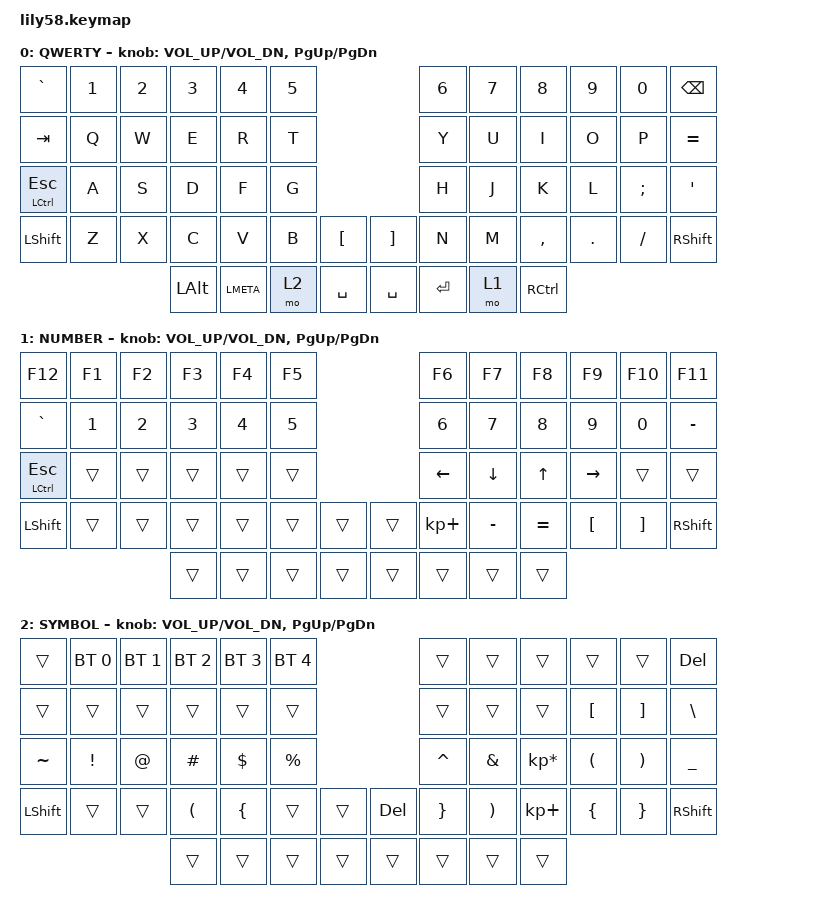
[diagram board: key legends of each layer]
/*
 * Copyright (c) 2020 The ZMK Contributors
 *
 * SPDX-License-Identifier: MIT
 */

#include <behaviors.dtsi>
#include <dt-bindings/zmk/keys.h>
#include <dt-bindings/zmk/bt.h>
#include <dt-bindings/zmk/ext_power.h>

/ {
    // Combo keys are a way to combine multiple keypresses to output a different key.
    combos {
        compatible = "zmk,combos";

        combo_clear_bluetooth {
            timeout-ms = <50>; // Press all the below keys within 50ms to activate mapping
            key-positions = <52 42 0>; // Press 52=LOWER, 42=[, 0=tilde
            bindings = <&bt BT_CLR>; // activate clear bluetooth bindings for current channel
        };
    };

    keymap {
        compatible = "zmk,keymap";

        default_layer {
            display-name = "QWERTY";
            // ------------------------------------------------------------------------------------------------------------
            // |   `      |  1  |  2  |  3   |  4   |  5   |                   |  6   |  7    |  8    |  9   |   0   |  BSCP |
            // |  TAB     |  Q  |  W  |  E   |  R   |  T   |                   |  Y   |  U    |  I    |  O   |   P   |   =   |
            // |hCTRL tESC|  A  |  S  |  D   |  F   |  G   |                   |  H   |  J    |  K    |  L   |   ;   |   '   |
            // | SHIFT    |  Z  |  X  |  C   |  V   |  B   |   "["  |  |  "]"  |  N   |  M    |  ,    |  .   |   /   | SHIFT |
            //                        | ALT  | GUI  | LOWER|  SPACE |  | SPACE  | ENTER| RAISE | CTRL  |

            bindings = <
      &kp GRAVE  &kp N1  &kp N2    &kp N3     &kp N4    &kp N5                        &kp N6  &kp N7     &kp N8    &kp N9    &kp N0    &kp BSPC
      &kp TAB    &kp Q   &kp W     &kp E      &kp R     &kp T                         &kp Y   &kp U      &kp I     &kp O     &kp P     &kp EQUAL
&mt LCTRL ESC    &kp A   &kp S     &kp D      &kp F     &kp G                         &kp H   &kp J      &kp K     &kp L     &kp SEMI  &kp SQT
    &kp LSHFT    &kp Z   &kp X     &kp C      &kp V     &kp B  &kp LBKT     &kp RBKT  &kp N   &kp M      &kp COMMA &kp DOT   &kp FSLH  &kp RSHFT
                                   &kp LALT   &kp LMETA &mo 2  &kp SPACE     &kp SPACE  &kp RET &mo 1      &kp RCTRL
            >;

            sensor-bindings = <&inc_dec_kp C_VOL_UP C_VOL_DN &inc_dec_kp PG_UP PG_DN>;
        };

        raise_layer {
            display-name = "NUMBER";
            // ------------------------------------------------------------------------------------------------------------
            // |  F12    |  F1 |  F2 |  F3  |  F4  |  F5  |                   |  F6  |   F7  |   F8  |  F9  |  F10  |  F11  |
            // |   `     |  1  |  2  |  3   |  4   |  5   |                   |  6   |   7   |   8   |  9   |   0   |   -   |
            // |CTRL/ESC |     |     |      |      |      |                   |  <-  |   ^   |   v   |  ->  |       |       |
            // | SHIFT   |     |     |      |      |      |        |  |       |  +   |   -   |   =   |  [   |   ]   |   \   |
            //                       |      |      |      |        |  |       |      |       |       |

            bindings = <
      &kp F12  &kp F1  &kp F2  &kp F3  &kp F4  &kp F5                   &kp F6       &kp F7     &kp F8     &kp F9    &kp F10   &kp F11
    &kp GRAVE  &kp N1  &kp N2  &kp N3  &kp N4  &kp N5                   &kp N6       &kp N7     &kp N8     &kp N9    &kp N0    &kp MINUS
&mt LCTRL ESC  &trans  &trans  &trans  &trans  &trans                   &kp LEFT     &kp DOWN   &kp UP     &kp RIGHT &trans    &trans
   &kp LSHIFT  &trans  &trans  &trans  &trans  &trans  &trans  &trans   &kp KP_PLUS  &kp MINUS  &kp EQUAL  &kp LBKT  &kp RBKT  &kp RIGHT_SHIFT
                               &trans  &trans  &trans  &trans  &trans   &trans       &trans     &trans
            >;

            sensor-bindings = <&inc_dec_kp C_VOL_UP C_VOL_DN &inc_dec_kp PG_UP PG_DN>;
        };

        lower_layer {
            display-name = "SYMBOL";
            // ------------------------------------------------------------------------------------------------------------
            // |          | BT1     | BT2    |  BT3 |  BT4  |  BT5 |                    |      |       |       |      |       |  DEL  |
            // |          |         |        |      |       |      |                    |      |       |       |  [   |   ]   |   \   |
            // |   ~      |  !      |  @     |  #   |  $    |  %   |                    |  ^   |  &    |  *    |  (   |   )   |   _   |
            // | SHIFT    |  EP_ON  | EP_OFF |      |  (    |  {   |       |  |   DEL   |  }   |  )    |  +    |  {   |   }   | SHIFT |
            //                               |      |       |      |       |  |         |      |       |       |
            bindings = <
    &trans       &bt BT_SEL 0  &bt BT_SEL 1  &bt BT_SEL 2  &bt BT_SEL 3  &bt BT_SEL 4                  &trans     &trans      &trans          &trans     &trans    &kp DEL
    &trans       &trans        &trans        &trans        &trans        &trans                        &trans     &trans      &trans          &kp LBKT   &kp RBKT  &kp BSLH
    &kp TILDE    &kp EXCL      &kp AT        &kp HASH      &kp DOLLAR    &kp PRCNT                     &kp CARET  &kp AMPS    &kp KP_MULTIPLY &kp LPAR   &kp RPAR  &kp UNDER
    &kp LSHIFT   &trans        &trans        &kp LPAR      &kp LBRC      &trans    &trans    &kp DEL   &kp RBRC   &kp RPAR    &kp KP_PLUS     &kp LBRC   &kp RBRC  &kp RSHFT
                                             &trans        &trans        &trans    &trans    &trans    &trans     &trans      &trans    
            >;

            sensor-bindings = <&inc_dec_kp C_VOL_UP C_VOL_DN &inc_dec_kp PG_UP PG_DN>;
        };
    };
};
